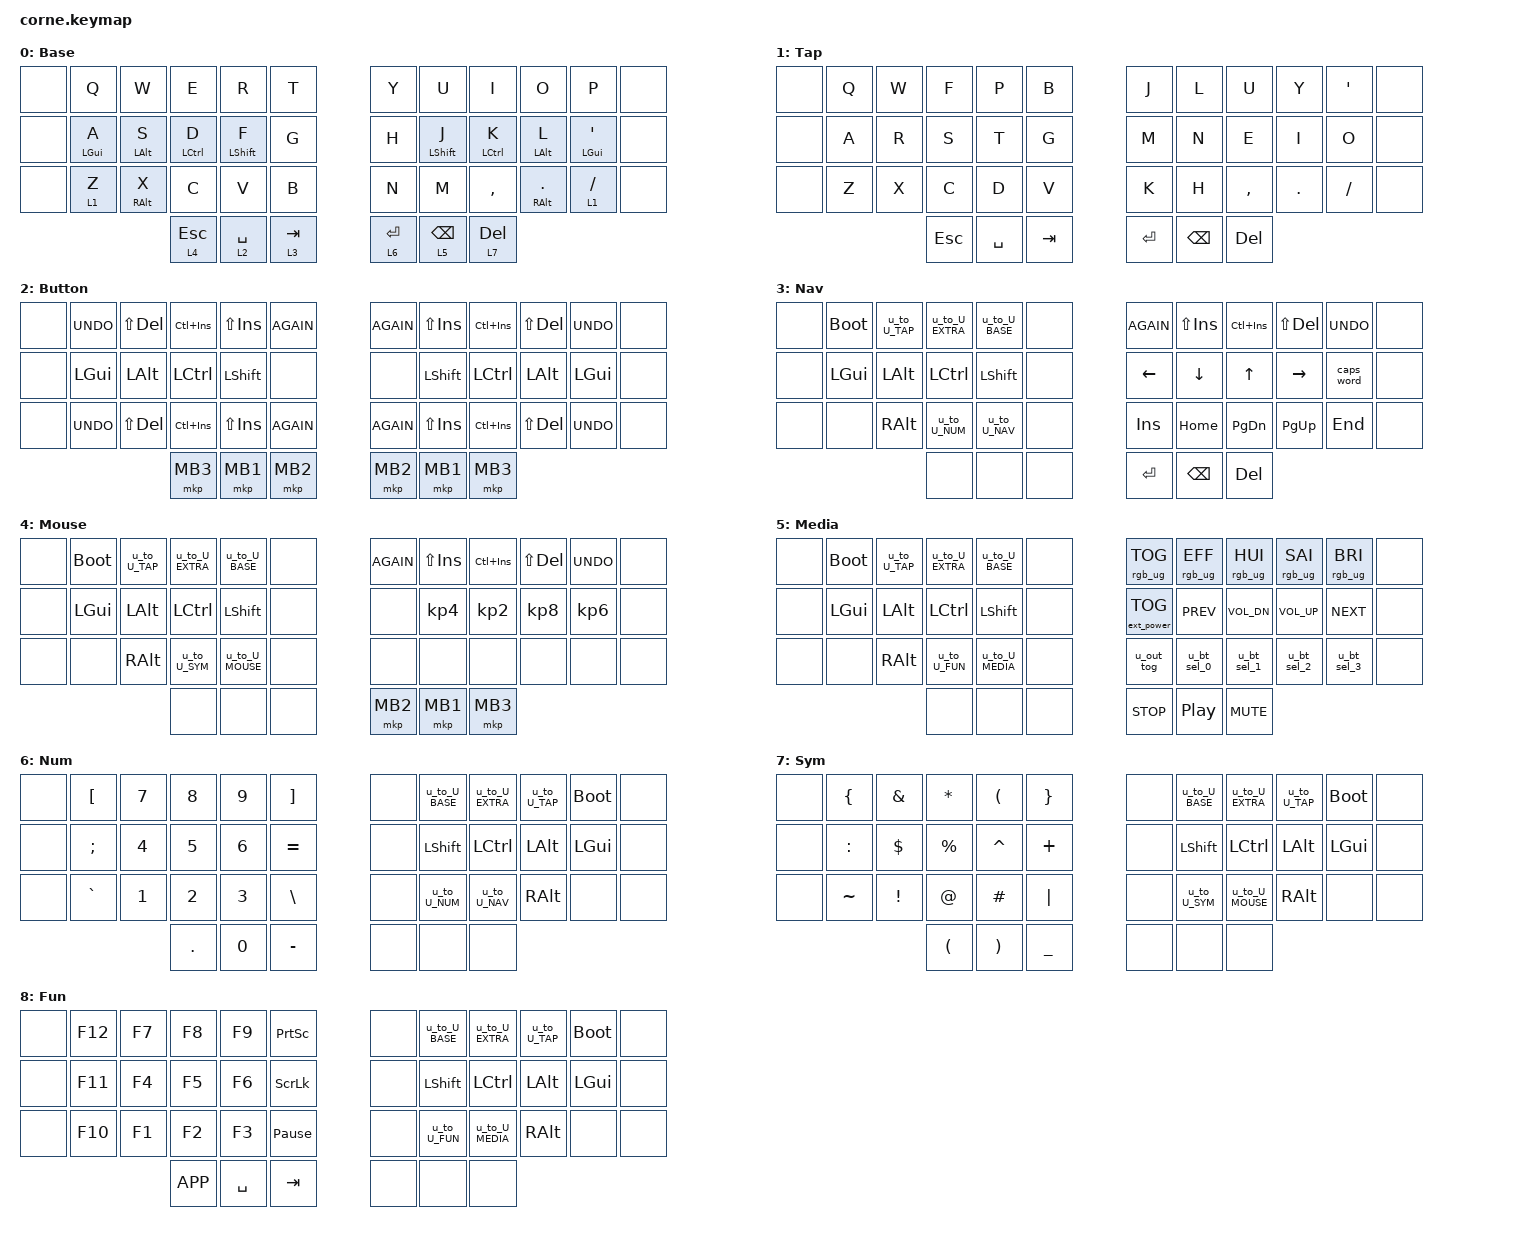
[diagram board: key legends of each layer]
/ {
    keymap {
        compatible = "zmk,keymap";

        Base {
            display-name = "Base";
            bindings = <
&none  &kp Q         &kp W         &kp E          &kp R          &kp T          &kp Y        &kp U          &kp I          &kp O           &kp P           &none
&none  &u_mt LGUI A  &u_mt LALT S  &u_mt LCTRL D  &u_mt LSHFT F  &kp G          &kp H        &u_mt LSHFT J  &u_mt LCTRL K  &u_mt LALT L    &u_mt LGUI SQT  &none
&none  &u_lt 1 Z     &u_mt RALT X  &kp C          &kp V          &kp B          &kp N        &kp M          &kp COMMA      &u_mt RALT DOT  &u_lt 1 SLASH   &none
                                   &u_lt 4 ESC    &u_lt 2 SPACE  &u_lt 3 TAB    &u_lt 6 RET  &u_lt 5 BSPC   &u_lt 7 DEL
            >;
        };

        TAP {
            display-name = "Tap";
            bindings = < &none  &kp Q  &kp W  &kp F  &kp P  &kp B       &kp J  &kp L  &kp U  &kp Y  &kp SQT  &none &none  &kp A  &kp R  &kp S  &kp T  &kp G       &kp M  &kp N  &kp E  &kp I  &kp O  &none &none  &kp Z  &kp X  &kp C  &kp D  &kp V       &kp K  &kp H  &kp COMMA  &kp DOT  &kp SLASH  &none &kp ESC  &kp SPACE  &kp TAB       &kp RET  &kp BSPC  &kp DEL >;
        };

        BUTTON {
            display-name = "Button";
            bindings = <
&none  &kp K_UNDO  &kp LS(DEL)  &kp LC(INS)  &kp LS(INS)  &kp K_AGAIN    &kp K_AGAIN  &kp LS(INS)  &kp LC(INS)  &kp LS(DEL)  &kp K_UNDO  &none
&none  &kp LGUI    &kp LALT     &kp LCTRL    &kp LSHFT    &none          &none        &kp LSHFT    &kp LCTRL    &kp LALT     &kp LGUI    &none
&none  &kp K_UNDO  &kp LS(DEL)  &kp LC(INS)  &kp LS(INS)  &kp K_AGAIN    &kp K_AGAIN  &kp LS(INS)  &kp LC(INS)  &kp LS(DEL)  &kp K_UNDO  &none
                                &mkp MB3     &mkp MB1     &mkp MB2       &mkp MB2     &mkp MB1     &mkp MB3
            >;
        };

        NAV {
            display-name = "Nav";
            bindings = <
&none  &bootloader  &u_to_U_TAP  &u_to_U_EXTRA  &u_to_U_BASE  &none    &kp K_AGAIN     &kp LS(INS)  &kp LC(INS)  &kp LS(DEL)  &kp K_UNDO  &none
&none  &kp LGUI     &kp LALT     &kp LCTRL      &kp LSHFT     &none    &kp LEFT_ARROW  &kp DOWN     &kp UP       &kp RIGHT    &caps_word  &none
&none  &none        &kp RALT     &u_to_U_NUM    &u_to_U_NAV   &none    &kp INS         &kp HOME     &kp PG_DN    &kp PG_UP    &kp END     &none
                                 &none          &none         &none    &kp RET         &kp BSPC     &kp DEL
            >;
        };

        MOUSE {
            display-name = "Mouse";
            bindings = <
&none  &bootloader  &u_to_U_TAP  &u_to_U_EXTRA  &u_to_U_BASE   &none    &kp K_AGAIN  &kp LS(INS)  &kp LC(INS)  &kp LS(DEL)  &kp K_UNDO  &none
&none  &kp LGUI     &kp LALT     &kp LCTRL      &kp LSHFT      &none    &none        &kp KP_N4    &kp KP_N2    &kp KP_N8    &kp KP_N6   &none
&none  &none        &kp RALT     &u_to_U_SYM    &u_to_U_MOUSE  &none    &none        &none        &none        &none        &none       &none
                                 &none          &none          &none    &mkp MB2     &mkp MB1     &mkp MB3
            >;
        };

        MEDIA {
            display-name = "Media";
            bindings = <
&none  &bootloader  &u_to_U_TAP  &u_to_U_EXTRA  &u_to_U_BASE   &none    &rgb_ug RGB_TOG    &rgb_ug RGB_EFF  &rgb_ug RGB_HUI  &rgb_ug RGB_SAI  &rgb_ug RGB_BRI  &none
&none  &kp LGUI     &kp LALT     &kp LCTRL      &kp LSHFT      &none    &ext_power EP_TOG  &kp C_PREV       &kp C_VOL_DN     &kp C_VOL_UP     &kp C_NEXT       &none
&none  &none        &kp RALT     &u_to_U_FUN    &u_to_U_MEDIA  &none    &u_out_tog         &u_bt_sel_0      &u_bt_sel_1      &u_bt_sel_2      &u_bt_sel_3      &none
                                 &none          &none          &none    &kp C_STOP         &kp C_PP         &kp C_MUTE
            >;
        };

        NUM {
            display-name = "Num";
            bindings = <
&none  &kp LBKT   &kp N7  &kp N8   &kp N9  &kp RBKT     &none  &u_to_U_BASE  &u_to_U_EXTRA  &u_to_U_TAP  &bootloader  &none
&none  &kp SEMI   &kp N4  &kp N5   &kp N6  &kp EQUAL    &none  &kp LSHFT     &kp LCTRL      &kp LALT     &kp LGUI     &none
&none  &kp GRAVE  &kp N1  &kp N2   &kp N3  &kp BSLH     &none  &u_to_U_NUM   &u_to_U_NAV    &kp RALT     &none        &none
                          &kp DOT  &kp N0  &kp MINUS    &none  &none         &none
            >;
        };

        SYM {
            display-name = "Sym";
            bindings = <
&none  &kp LBRC   &kp AMPS  &kp ASTRK  &kp LPAR   &kp RBRC     &none  &u_to_U_BASE  &u_to_U_EXTRA  &u_to_U_TAP  &bootloader  &none
&none  &kp COLON  &kp DLLR  &kp PRCNT  &kp CARET  &kp PLUS     &none  &kp LSHFT     &kp LCTRL      &kp LALT     &kp LGUI     &none
&none  &kp TILDE  &kp EXCL  &kp AT     &kp HASH   &kp PIPE     &none  &u_to_U_SYM   &u_to_U_MOUSE  &kp RALT     &none        &none
                            &kp LPAR   &kp RPAR   &kp UNDER    &none  &none         &none
            >;
        };

        FUN {
            display-name = "Fun";
            bindings = <
&none  &kp F12  &kp F7  &kp F8     &kp F9     &kp PSCRN          &none  &u_to_U_BASE  &u_to_U_EXTRA  &u_to_U_TAP  &bootloader  &none
&none  &kp F11  &kp F4  &kp F5     &kp F6     &kp SLCK           &none  &kp LSHFT     &kp LCTRL      &kp LALT     &kp LGUI     &none
&none  &kp F10  &kp F1  &kp F2     &kp F3     &kp PAUSE_BREAK    &none  &u_to_U_FUN   &u_to_U_MEDIA  &kp RALT     &none        &none
                        &kp K_APP  &kp SPACE  &kp TAB            &none  &none         &none
            >;
        };
    };
};

miryoku_shift_functions.dtsi {
    "
/

    macros {
        u_macro_u_bt_sel_0: u_macro_u_bt_sel_0 {
            compatible = "zmk,behavior-macro";
            #binding-cells = <0>;
            wait-ms = <0>;
            bindings = <&bt BT_SEL 0 &bt BT_CLR>;
        };
    };
};

/ {
    behaviors {
        u_bt_sel_0: u_bt_sel_0 {
            compatible = "zmk,behavior-mod-morph";
            #binding-cells = <0>;
            bindings = <&bt BT_SEL 0>, <&u_macro_u_bt_sel_0>;

            mods = <(MOD_LSFT|MOD_RSFT)>;
        };
    };
};

/ {
    macros {
        u_macro_u_bt_sel_1: u_macro_u_bt_sel_1 {
            compatible = "zmk,behavior-macro";
            #binding-cells = <0>;
            wait-ms = <0>;
            bindings = <&bt BT_SEL 1 &bt BT_CLR>;
        };
    };
};

/ {
    behaviors {
        u_bt_sel_1: u_bt_sel_1 {
            compatible = "zmk,behavior-mod-morph";
            #binding-cells = <0>;
            bindings = <&bt BT_SEL 1>, <&u_macro_u_bt_sel_1>;

            mods = <(MOD_LSFT|MOD_RSFT)>;
        };
    };
};

/ {
    macros {
        u_macro_u_bt_sel_2: u_macro_u_bt_sel_2 {
            compatible = "zmk,behavior-macro";
            #binding-cells = <0>;
            wait-ms = <0>;
            bindings = <&bt BT_SEL 2 &bt BT_CLR>;
        };
    };
};

/ {
    behaviors {
        u_bt_sel_2: u_bt_sel_2 {
            compatible = "zmk,behavior-mod-morph";
            #binding-cells = <0>;
            bindings = <&bt BT_SEL 2>, <&u_macro_u_bt_sel_2>;

            mods = <(MOD_LSFT|MOD_RSFT)>;
        };
    };
};

/ {
    macros {
        u_macro_u_bt_sel_3: u_macro_u_bt_sel_3 {
            compatible = "zmk,behavior-macro";
            #binding-cells = <0>;
            wait-ms = <0>;
            bindings = <&bt BT_SEL 3 &bt BT_CLR>;
        };
    };
};

/ {
    behaviors {
        u_bt_sel_3: u_bt_sel_3 {
            compatible = "zmk,behavior-mod-morph";
            #binding-cells = <0>;
            bindings = <&bt BT_SEL 3>, <&u_macro_u_bt_sel_3>;

            mods = <(MOD_LSFT|MOD_RSFT)>;
        };
    };
};

/ {
    macros {
        u_macro_u_bt_sel_4: u_macro_u_bt_sel_4 {
            compatible = "zmk,behavior-macro";
            #binding-cells = <0>;
            wait-ms = <0>;
            bindings = <&bt BT_SEL 4 &bt BT_CLR>;
        };
    };
};

/ {
    behaviors {
        u_bt_sel_4: u_bt_sel_4 {
            compatible = "zmk,behavior-mod-morph";
            #binding-cells = <0>;
            bindings = <&bt BT_SEL 4>, <&u_macro_u_bt_sel_4>;

            mods = <(MOD_LSFT|MOD_RSFT)>;
        };
    };
};

/ {
    behaviors {
        u_out_tog: u_out_tog {
            compatible = "zmk,behavior-mod-morph";
            #binding-cells = <0>;
            bindings = <&out OUT_TOG>, <&out OUT_USB>;

            mods = <(MOD_LSFT|MOD_RSFT)>;
        };
    };
};

/ {
    behaviors {
        u_caps_word: u_caps_word {
            compatible = "zmk,behavior-mod-morph";
            #binding-cells = <0>;
            bindings = <&caps_word>, <&kp CAPS>;

            mods = <(MOD_LSFT|MOD_RSFT)>;
        };
    };
};

miryoku_double_tap_guard.dtsi {
    "
/

    behaviors {
        u_to_U_BASE: u_to_U_BASE {
            compatible = "zmk,behavior-tap-dance";
            #binding-cells = <0>;
            tapping-term-ms = <200>;
            bindings = <&none>, <&to 0>;
        };
    };
};

/ {
    behaviors {
        u_to_U_EXTRA: u_to_U_EXTRA {
            compatible = "zmk,behavior-tap-dance";
            #binding-cells = <0>;
            tapping-term-ms = <200>;
            bindings = <&none>, <&to 0>;
        };
    };
};

/ {
    behaviors {
        u_to_U_TAP: u_to_U_TAP {
            compatible = "zmk,behavior-tap-dance";
            #binding-cells = <0>;
            tapping-term-ms = <200>;
            bindings = <&none>, <&to 0>;
        };
    };
};

/ {
    behaviors {
        u_to_U_BUTTON: u_to_U_BUTTON {
            compatible = "zmk,behavior-tap-dance";
            #binding-cells = <0>;
            tapping-term-ms = <200>;
            bindings = <&none>, <&to 1>;
        };
    };
};

/ {
    behaviors {
        u_to_U_NAV: u_to_U_NAV {
            compatible = "zmk,behavior-tap-dance";
            #binding-cells = <0>;
            tapping-term-ms = <200>;
            bindings = <&none>, <&to 2>;
        };
    };
};

/ {
    behaviors {
        u_to_U_MOUSE: u_to_U_MOUSE {
            compatible = "zmk,behavior-tap-dance";
            #binding-cells = <0>;
            tapping-term-ms = <200>;
            bindings = <&none>, <&to 3>;
        };
    };
};

/ {
    behaviors {
        u_to_U_MEDIA: u_to_U_MEDIA {
            compatible = "zmk,behavior-tap-dance";
            #binding-cells = <0>;
            tapping-term-ms = <200>;
            bindings = <&none>, <&to 4>;
        };
    };
};

/ {
    behaviors {
        u_to_U_NUM: u_to_U_NUM {
            compatible = "zmk,behavior-tap-dance";
            #binding-cells = <0>;
            tapping-term-ms = <200>;
            bindings = <&none>, <&to 5>;
        };
    };
};

/ {
    behaviors {
        u_to_U_SYM: u_to_U_SYM {
            compatible = "zmk,behavior-tap-dance";
            #binding-cells = <0>;
            tapping-term-ms = <200>;
            bindings = <&none>, <&to 6>;
        };
    };
};

/ {
    behaviors {
        u_to_U_FUN: u_to_U_FUN {
            compatible = "zmk,behavior-tap-dance";
            #binding-cells = <0>;
            tapping-term-ms = <200>;
            bindings = <&none>, <&to 7>;
        };
    };
};

miryoku_mousekeys.dtsi {
    "
/

    macros {
        u_macro_btn1: u_macro_btn1 {
            compatible = "zmk,behavior-macro";
            #binding-cells = <0>;
            wait-ms = <0>;
            bindings = <&kp KP_SLASH &kp KP_N5>;
        };
    };
};

/ {
    macros {
        u_macro_btn2: u_macro_btn2 {
            compatible = "zmk,behavior-macro";
            #binding-cells = <0>;
            wait-ms = <0>;
            bindings = <&kp KP_MINUS &kp KP_N5>;
        };
    };
};

/ {
    macros {
        u_macro_btn3: u_macro_btn3 {
            compatible = "zmk,behavior-macro";
            #binding-cells = <0>;
            wait-ms = <0>;
            bindings = <&kp KP_ASTERISK &kp KP_N5>;
        };
    };
};

miryoku_behaviors.dtsi {
    "
/

    behaviors {
        u_mt: u_mt {
            compatible = "zmk,behavior-hold-tap";
            #binding-cells = <2>;
            tapping-term-ms = <200>;
            flavor = "tap-preferred";
            bindings = <&kp>, <&kp>;
        };

        u_lt: u_lt {
            compatible = "zmk,behavior-hold-tap";
            #binding-cells = <2>;
            tapping-term-ms = <200>;
            flavor = "tap-preferred";
            bindings = <&mo>, <&kp>;
        };
    };
};

